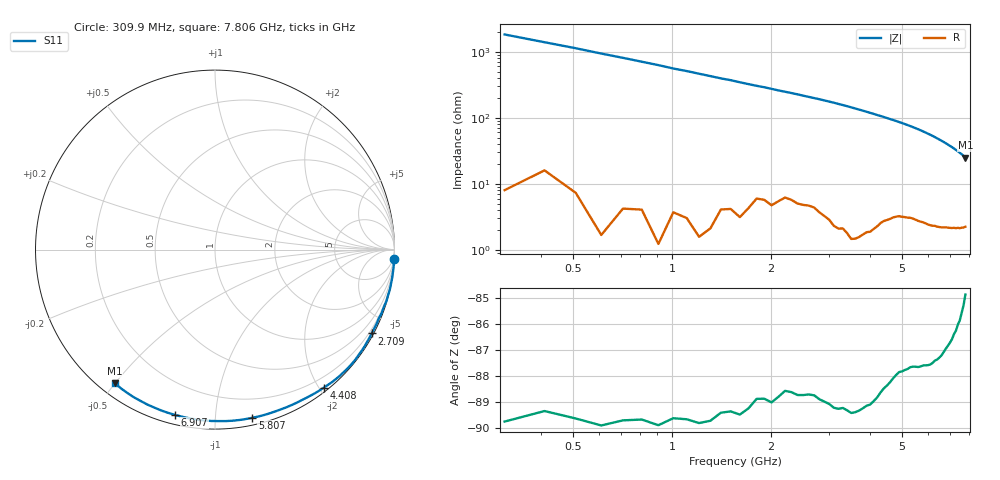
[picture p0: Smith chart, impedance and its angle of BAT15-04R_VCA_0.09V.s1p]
! Infineon Technologies  Discrete & RF Semiconductors
! BAT15-04R
! VCA = 0.09 V
! One-Port S-Parameters
# Hz  S  MA  R  50
!f  S11
!Hz  Mag  Ang
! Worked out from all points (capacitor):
!   76 points, 309.9 MHz to 7.806 GHz, reference 50 ohm
!   read as one part to ground: C = 278 fF near 309.9 MHz
!   lowest |Z| = 25.1 ohm at 7.806 GHz (marker M1)
!   S11 on the Smith chart (normalised r, x): 309.9 MHz: 0, -37; 2.709 GHz: 0.09, -3.98; 4.408 GHz: 0.05, -2.06; 5.807 GHz: 0.05, -1.25; 6.907 GHz: 0.04, -0.79; 7.806 GHz: 0.04, -0.50
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3.0985e8  0.9998 -3.1
9.0955e8  0.9997 -9.1
1.30935e9  0.9989 -13.3
1.6092e9  0.9974 -16.5
2.009e9  0.9939 -20.6
2.2089e9  0.9904 -22.7
2.70865e9  0.9897 -28.2
2.90855e9  0.991 -30.5
3.2084e9  0.9928 -34.2
3.50825e9  0.9937 -38.2
3.70815e9  0.9923 -41.1
4.10795e9  0.9868 -47.1
4.4078e9  0.9793 -51.8
4.70765e9  0.9724 -56.7
5.0075e9  0.967 -61.8
5.30735e9  0.963 -67.3
5.6072e9  0.9615 -73.3
5.8071e9  0.9598 -77.5
6.007e9  0.959 -81.9
6.2069e9  0.9573 -86.4
6.50675e9  0.9538 -93.6
6.70665e9  0.9507 -98.6
6.90655e9  0.9477 -103.5
7.10645e9  0.9449 -108.5
7.30635e9  0.9418 -113.6
7.50625e9  0.9386 -118.9
7.70615e9  0.9339 -124.1
7.8061e9  0.9306 -126.8
